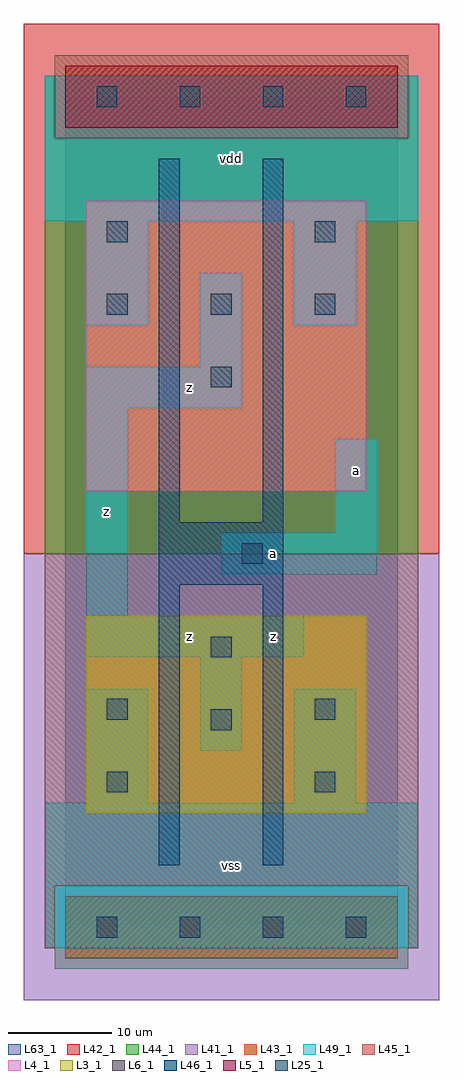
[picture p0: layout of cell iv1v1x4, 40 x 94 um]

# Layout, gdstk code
import gdstk
lib = gdstk.Library(unit=1e-6, precision=1e-09)
def R(c, l, rs):  # rectangles x0, y0, x1, y1
    for r in rs: c.add(gdstk.rectangle(r[:2], r[2:], *l))
def A(c, l, x, y, w, h, nx, ny, dx, dy):  # array of equal rectangles
    R(c, l, [(x+i*dx, y+j*dy, x+i*dx+w, y+j*dy+h) for i in range(nx) for j in range(ny)])
L3_1 = (3, 1)
L4_1 = (4, 1)
L5_1 = (5, 1)
L6_1 = (6, 1)
L25_1 = (25, 1)
L41_1 = (41, 1)
L42_1 = (42, 1)
L43_1 = (43, 1)
L44_1 = (44, 1)
L45_1 = (45, 1)
L46_1 = (46, 1)
L49_1 = (49, 1)
L63_1 = (63, 1)

iv1v1x4 = lib.new_cell('iv1v1x4')
R(iv1v1x4, L3_1, [(2,11,29,30)])
R(iv1v1x4, L4_1, [(2,42,29,70)])
R(iv1v1x4, L5_1, [(0,77,32,83)])
R(iv1v1x4, L6_1, [(0,-3,32,3), (0,-3,32,3)])
A(iv1v1x4, L25_1, 3, -1, 2, 2, 4, 2, 8, 80)
A(iv1v1x4, L25_1, 4, 59, 2, 2, 3, 1, 10, 0)
R(iv1v1x4, L25_1, [(4,13,6,15), (24,13,26,15), (14,19,16,21), (4,20,6,22), (24,20,26,22), (14,26,16,28), (17,35,19,37), (14,52,16,54), (4,66,6,68), (24,66,26,68)])
R(iv1v1x4, L41_1, [(-4,-7,36,36)])
R(iv1v1x4, L42_1, [(-4,36,36,87)])
R(iv1v1x4, L43_1, [(0,-3,32,3), (2,11,29,30), (2,42,29,70), (0,77,32,83)])
R(iv1v1x4, L44_1, [(-1,-4,33,4), (-2,36,34,76), (-2,76,-1,82), (33,76,34,82)])
R(iv1v1x4, L45_1, [(-2,-2,-1,4), (33,-2,34,4), (-2,4,34,36), (-1,76,33,84)])
R(iv1v1x4, L46_1, [(9,6,11,33), (19,6,21,33), (9,33,21,39), (9,39,11,74), (19,39,21,74)])
R(iv1v1x4, L49_1, [(-2,-2,34,12), (2,12,8,23), (22,12,28,23), (13,17,17,26), (2,26,23,30), (2,30,6,50), (15,34,30,38), (26,38,30,47), (2,50,17,54), (13,54,17,63), (2,58,8,68), (22,58,28,68), (-2,68,34,82)])
R(iv1v1x4, L63_1, [(0,0,32,80)])
iv1v1x4.add(gdstk.Label('z', (4,40), layer=49, texttype=1))
iv1v1x4.add(gdstk.Label('z', (12,28), layer=49, texttype=1))
iv1v1x4.add(gdstk.Label('z', (12,52), layer=49, texttype=1))
iv1v1x4.add(gdstk.Label('vss', (16,6), layer=49, texttype=1))
iv1v1x4.add(gdstk.Label('a', (20,36), layer=49, texttype=1))
iv1v1x4.add(gdstk.Label('z', (20,28), layer=49, texttype=1))
iv1v1x4.add(gdstk.Label('vdd', (16,74), layer=49, texttype=1))
iv1v1x4.add(gdstk.Label('a', (28,44), layer=49, texttype=1))

lib.write_gds('iv1v1x4.gds')
